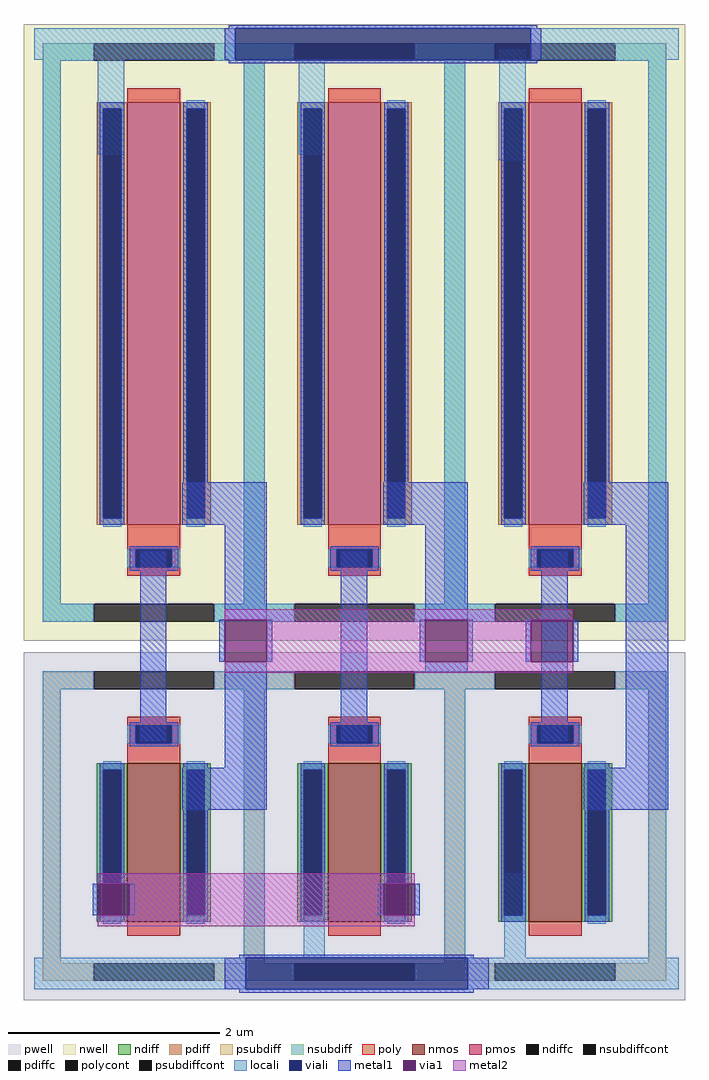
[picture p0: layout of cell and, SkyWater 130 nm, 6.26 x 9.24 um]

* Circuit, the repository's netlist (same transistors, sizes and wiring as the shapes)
* NGSPICE file created from and.ext - technology: sky130A

.subckt sky130_fd_pr__pfet_01v8_TSNZVH a_50_n364# w_n246_n584# a_n108_n364# a_n50_n461#
X0 a_50_n364# a_n50_n461# a_n108_n364# w_n246_n584# sky130_fd_pr__pfet_01v8 ad=1.16e+12p pd=8.58e+06u as=1.16e+12p ps=8.58e+06u w=4e+06u l=500000u
.ends

.subckt sky130_fd_pr__nfet_01v8_Y5UG24 a_n108_n181# a_n50_n207# a_n210_n293# a_50_n181#
X0 a_50_n181# a_n50_n207# a_n108_n181# a_n210_n293# sky130_fd_pr__nfet_01v8 ad=4.35e+11p pd=3.58e+06u as=4.35e+11p ps=3.58e+06u w=1.5e+06u l=500000u
.ends

.subckt inv m1_160_n270# m1_240_n400# li_80_830# VSUBS
Xsky130_fd_pr__pfet_01v8_TSNZVH_0 m1_240_n400# li_80_830# li_80_830# m1_160_n270#
+ sky130_fd_pr__pfet_01v8_TSNZVH
Xsky130_fd_pr__nfet_01v8_Y5UG24_0 VSUBS m1_160_n270# VSUBS m1_240_n400# sky130_fd_pr__nfet_01v8_Y5UG24
.ends

.subckt and B Vout VDD VSS A
Xsky130_fd_pr__pfet_01v8_TSNZVH_0 m1_280_n300# VDD VDD B sky130_fd_pr__pfet_01v8_TSNZVH
Xsky130_fd_pr__pfet_01v8_TSNZVH_1 m1_280_n300# VDD VDD A sky130_fd_pr__pfet_01v8_TSNZVH
Xinv_0 m1_280_n300# Vout VDD VSS inv
Xsky130_fd_pr__nfet_01v8_Y5UG24_0 VSS B VSS m1_110_n500# sky130_fd_pr__nfet_01v8_Y5UG24
Xsky130_fd_pr__nfet_01v8_Y5UG24_1 m1_110_n500# A VSS m1_280_n300# sky130_fd_pr__nfet_01v8_Y5UG24
.ends

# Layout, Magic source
magic
tech sky130A
magscale 1 2
<< locali >>
rect 0 1120 380 1180
rect 940 1120 1220 1180
rect 120 940 170 1120
rect 500 940 550 1120
rect 510 -580 550 -420
rect 0 -640 400 -580
rect 820 -640 1220 -580
<< viali >>
rect 380 1120 940 1180
rect 400 -640 820 -580
<< metal1 >>
rect 368 1180 952 1186
rect 360 1120 380 1180
rect 940 1120 960 1180
rect 368 1114 952 1120
rect 280 240 440 320
rect 660 240 820 320
rect 200 -170 250 190
rect 360 60 440 240
rect 350 -20 360 60
rect 440 -20 450 60
rect 360 -220 440 -20
rect 580 -170 630 190
rect 740 60 820 240
rect 730 -20 740 60
rect 820 -20 830 60
rect 930 -20 940 60
rect 1020 -20 1030 60
rect 740 -40 820 -20
rect 280 -300 440 -220
rect 110 -500 120 -440
rect 180 -500 190 -440
rect 650 -500 660 -440
rect 720 -500 730 -440
rect 388 -580 832 -574
rect 360 -640 400 -580
rect 820 -640 860 -580
rect 388 -646 832 -640
<< via1 >>
rect 360 -20 440 60
rect 740 -20 820 60
rect 940 -20 1020 60
rect 120 -500 180 -440
rect 660 -500 720 -440
<< metal2 >>
rect 360 60 1020 80
rect 440 -20 740 60
rect 820 -20 940 60
rect 360 -40 1020 -20
rect 120 -440 720 -420
rect 180 -500 660 -440
rect 120 -520 720 -500
use inv  inv_0
transform 1 0 800 0 1 100
box -60 -760 432 1088
use sky130_fd_pr__nfet_01v8_Y5UG24  sky130_fd_pr__nfet_01v8_Y5UG24_0
transform 1 0 606 0 1 -331
box -246 -329 246 329
use sky130_fd_pr__nfet_01v8_Y5UG24  sky130_fd_pr__nfet_01v8_Y5UG24_1
transform 1 0 226 0 1 -331
box -246 -329 246 329
use sky130_fd_pr__pfet_01v8_TSNZVH  sky130_fd_pr__pfet_01v8_TSNZVH_0
transform 1 0 606 0 1 604
box -246 -584 246 584
use sky130_fd_pr__pfet_01v8_TSNZVH  sky130_fd_pr__pfet_01v8_TSNZVH_1
transform 1 0 226 0 1 604
box -246 -584 246 584
<< end >>

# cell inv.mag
magic
tech sky130A
magscale 1 2
<< locali >>
rect 80 830 130 1040
rect 90 -720 130 -520
<< metal1 >>
rect 240 140 400 220
rect 160 -270 210 90
rect 320 -320 400 140
rect 240 -400 400 -320
use sky130_fd_pr__nfet_01v8_Y5UG24  sky130_fd_pr__nfet_01v8_Y5UG24_0
transform 1 0 186 0 1 -431
box -246 -329 246 329
use sky130_fd_pr__pfet_01v8_TSNZVH  sky130_fd_pr__pfet_01v8_TSNZVH_0
transform 1 0 186 0 1 504
box -246 -584 246 584
<< end >>

# cell sky130_fd_pr__nfet_01v8_Y5UG24: kit device sky130_fd_pr__nfet_01v8, w 1.5 l 0.5 m 1 nf 1 diffcov 100 polycov 100 guard 1 glc 0 grc 0 gtc 1 gbc 1 tbcov 100 rlcov 100 topc 1 botc 0 poverlap 0 doverlap 1 lmin 0.15 wmin 0.42 compatible {sky130_fd_pr__nfet_01v8 sky130_fd_pr__nfet_01v8_lvt sky130_fd_bs_flash__special_sonosfet_star sky130_fd_pr__nfet_g5v0d10v5 sky130_fd_pr__nfet_05v0_nvt sky130_fd_pr__nfet_03v3_nvt} full_metal 1 viasrc 100 viadrn 100 viagate 100 viagb 0 viagr 0 viagl 0 viagt 0

# cell sky130_fd_pr__pfet_01v8_TSNZVH: kit device sky130_fd_pr__pfet_01v8, w 4 l 0.5 m 1 nf 1 diffcov 100 polycov 100 guard 1 glc 0 grc 0 gtc 1 gbc 1 tbcov 100 rlcov 100 topc 0 botc 1 poverlap 0 doverlap 1 lmin 0.15 wmin 0.42 compatible {sky130_fd_pr__pfet_01v8 sky130_fd_pr__pfet_01v8_lvt sky130_fd_pr__pfet_01v8_hvt sky130_fd_pr__pfet_g5v0d10v5} full_metal 1 viasrc 100 viadrn 100 viagate 100 viagb 0 viagr 0 viagl 0 viagt 0
